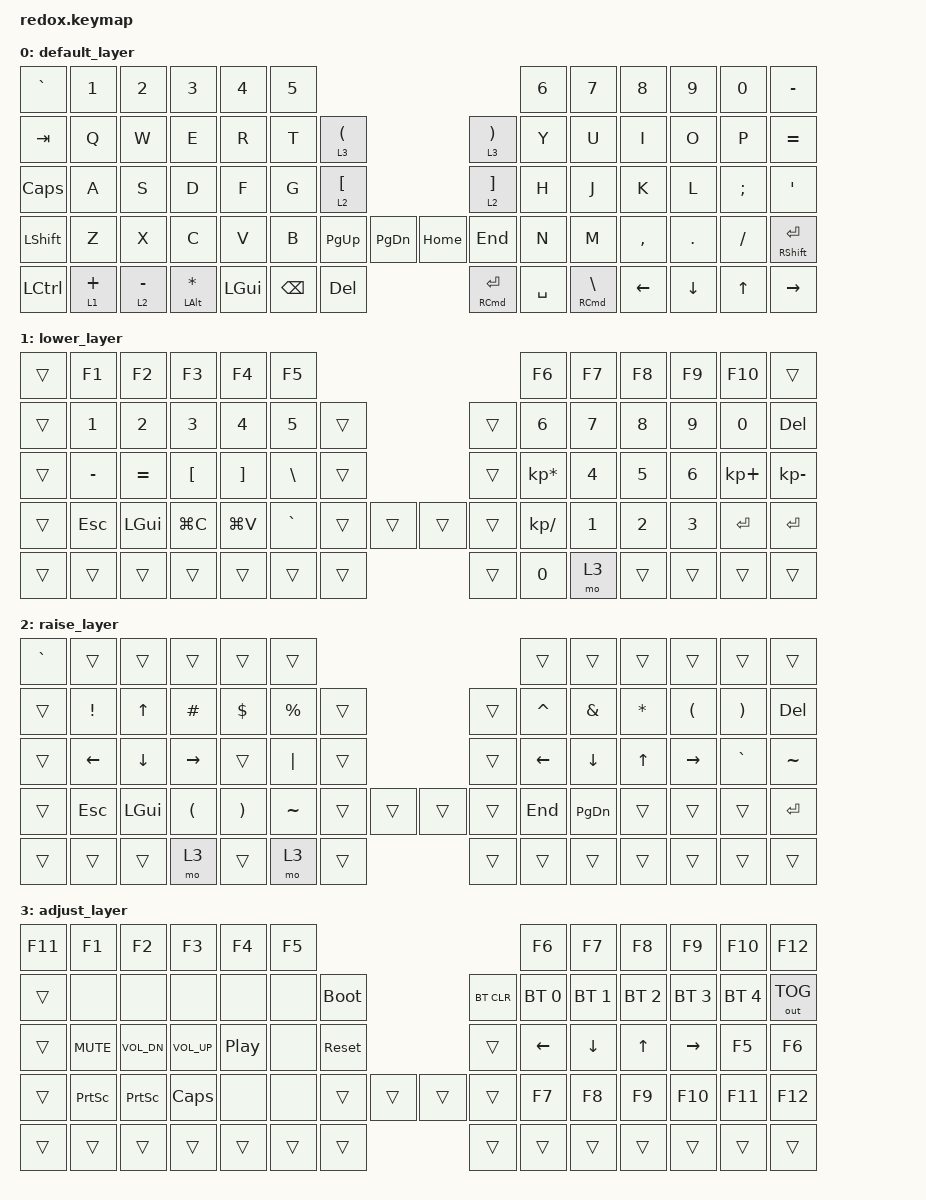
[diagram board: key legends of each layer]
/*
 * Copyright (c) 2021 The ZMK Contributors
 *
 * SPDX-License-Identifier: MIT
 */

#include <behaviors.dtsi>
#include <dt-bindings/zmk/bt.h>
#include <dt-bindings/zmk/keys.h>
#include <dt-bindings/zmk/outputs.h>

/ {
    keymap {
        compatible = "zmk,keymap";

        default_layer {
            // --------------------------------------------------------------------------------------------------------------------------------
            // | ESC   |  1  |  2  |   3   |  4  |  5  |                   ---                |  6    |  7    |  8    |  9   | 0  |    BKSP   |
            // | TAB   |  Q  |  W  |   E   |  R  |  T  |   (   |           ---        |  )    |  Y    |  U    |  I    |  O   | P  |     -     |
            // | CTRL  |  A  |  S  |   D   |  F  |  G  |   [   |           ---        |  ]    |  H    |  J    |  K    |  L   | ;  |     '     |
            // | SHIFT |  Z  |  X  |   C   |  V  |  B  | PG_UP | PG_DOWN | --- | HOME | END   |  N    |  M    |  ,    |  .   | /  | SHFT(RET) |
            // | CRTL  | ALT | GUI | LOWER |    GUI    | LOWER | SPACE   | --- | DEL  | SPACE |     RAISE     | LEFT  | DOWN | UP |   RIGHT   |

            bindings = <
&kp GRAVE     &kp N1      &kp N2       &kp N3                 &kp N4  &kp N5                                                                                &kp N6                      &kp N7  &kp N8     &kp N9    &kp N0    &kp MINUS
&kp TAB       &kp Q       &kp W        &kp E                  &kp R   &kp T     &lt 3 LEFT_PARENTHESIS                             &lt 3 RIGHT_PARENTHESIS  &kp Y                       &kp U   &kp I      &kp O     &kp P     &kp EQUAL
&kp CAPSLOCK  &kp A       &kp S        &kp D                  &kp F   &kp G     &lt 2 LEFT_BRACKET                                 &lt 2 RIGHT_BRACKET      &kp H                       &kp J   &kp K      &kp L     &kp SEMI  &kp SQT
&kp LSHFT     &kp Z       &kp X        &kp C                  &kp V   &kp B     &kp PG_UP               &kp PG_DN  &kp HOME        &kp END                  &kp N                       &kp M   &kp COMMA  &kp DOT   &kp FSLH  &mt RSHFT RET
&kp LCTRL     &lt 1 PLUS  &lt 2 MINUS  &mt LEFT_ALT ASTERISK          &kp LGUI  &kp BACKSPACE           &kp DEL    &mt RCMD ENTER  &kp SPACE                        &mt RCMD BACKSLASH          &kp LEFT   &kp DOWN  &kp UP    &kp RIGHT
            >;
        };

        lower_layer {
            // --------------------------------------------------------------------------------------------------------------------------
            // | ESC   |  1  |  2  |   3   |   4   |  5  |                   ---              |  6  |  7  |   8  |  9   |  0  |  DEL  |
            // | ESC   |  1  |  2  |   3   |   4   |  5  |   (   |           ---        |  )  |  6  |  7  |   8  |  9   |  0  |  DEL  |
            // | CTRL  |  -  |  =  |   [   |   ]   |  \  |   [   |           ---        |  ]  |  *  |  4  |   5  |  6   |  +  |   -   |
            // | SHIFT | ESC | GUI | COPY  | PASTE |     | PG_UP | PG_DOWN | --- | HOME | END |  \  |  1  |   2  |  3   | RET |  RET  |
            // | CRTL  | ALT | GUI | LOWER |     GUI     | LOWER | SPACE   | --- | DEL  |  0  |    RAISE  | LEFT | DOWN | UP  | RIGHT |

            bindings = <
&trans  &kp F1     &kp F2     &kp F3     &kp F4     &kp F5                                     &kp F6                  &kp F7  &kp F8  &kp F9  &kp F10      &trans
&trans  &kp N1     &kp N2     &kp N3     &kp N4     &kp N5     &trans                  &trans  &kp N6                  &kp N7  &kp N8  &kp N9  &kp N0       &kp DEL
&trans  &kp MINUS  &kp EQUAL  &kp LBKT   &kp RBKT   &kp BSLH   &trans                  &trans  &kp KP_MULTIPLY         &kp N4  &kp N5  &kp N6  &kp KP_PLUS  &kp KP_MINUS
&trans  &kp ESC    &kp LGUI   &kp LG(C)  &kp LG(V)  &kp GRAVE  &trans  &trans  &trans  &trans  &kp KP_DIVIDE           &kp N1  &kp N2  &kp N3  &kp RET      &kp RET
&trans  &trans     &trans     &trans                &trans     &trans  &trans  &trans  &kp N0                   &mo 3          &trans  &trans  &trans       &trans
            >;
        };

        raise_layer {
            // ----------------------------------------------------------------------------------------------------------------------------
            // | ESC   |  1  |  2  |   3   |  4  |  5  |                   ---                |  6   |  7   |  8   |  9   |  0    |  DEL  |
            // | ESC   |  !  |  @  |   #   |  $  |  %  |   (   |           ---        |  )    |  ^   |  &   |  *   |  (   |  )    |  DEL  |
            // | CTRL  |  _  |  +  |   {   |  }  | "|" |   [   |           ---        |  ]    | HOME | PGUP | PRSC | UP   |  `    |   ~   |
            // | SHIFT | ESC | GUI |   (   |  )  |     | PG_UP | PG_DOWN | --- | HOME | END   | END  | PGDN | LEFT | DOWN | RIGHT |  RET  |
            // | CRTL  | ALT | GUI | LOWER |    GUI    | LOWER | SPACE   | --- | DEL  | SPACE |    RAISE    | LEFT | DOWN | UP    | RIGHT |

            bindings = <
&kp GRAVE  &trans    &trans    &trans     &trans    &trans                                     &trans             &trans     &trans     &trans     &trans     &trans
&trans     &kp EXCL  &kp UP    &kp HASH   &kp DLLR  &kp PRCNT  &trans                  &trans  &kp CARET          &kp AMPS   &kp ASTRK  &kp LPAR   &kp RPAR   &kp DEL
&trans     &kp LEFT  &kp DOWN  &kp RIGHT  &trans    &kp PIPE   &trans                  &trans  &kp LEFT           &kp DOWN   &kp UP     &kp RIGHT  &kp GRAVE  &kp TILDE
&trans     &kp ESC   &kp LGUI  &kp LPAR   &kp RPAR  &kp TILDE  &trans  &trans  &trans  &trans  &kp END            &kp PG_DN  &trans     &trans     &trans     &kp RET
&trans     &trans    &trans    &mo 3                &trans     &mo 3   &trans  &trans  &trans             &trans             &trans     &trans     &trans     &trans
            >;
        };

        adjust_layer {
            // -----------------------------------------------------------------------------------------
            // |  F1   |  F2   |    F3    |    F4     |     F5     | F6 |                   ---                | F7  | F8  |  F9  |  F10 | F11 | F12        |
            // | TAB   |       |          |           |            |    | BOOTL |           ---        |  )    | BT1 | BT2 |  BT3 |  BT4 | BT5 | OUTPUT TGL |
            // | CTRL  | MUTE  |  Vol Dn  |  Vol Up   | Play/Pause |    | RESET |           ---        |  ]    | F1  | F2  |  F3  |  F4  | F5  | F6         |
            // | SHIFT | PSCRN |  PSCRN   |   CAPS    |            |    | PG_UP | PG_DOWN | --- | HOME | END   | F7  | F8  |  F9  |  F10 | F11 | F12        |
            // | CRTL  | ALT   |  GUI     |   LOWER   |      GUI        | LOWER | SPACE   | --- | DEL  | SPACE |   RAISE   | LEFT | DOWN | UP  |   RIGHT    |

            bindings = <
&kp F11  &kp F1      &kp F2        &kp F3        &kp F4            &kp F5                                           &kp F6                &kp F7        &kp F8        &kp F9        &kp F10       &kp F12
&trans   &none       &none         &none         &none             &none   &bootloader                  &bt BT_CLR  &bt BT_SEL 0          &bt BT_SEL 1  &bt BT_SEL 2  &bt BT_SEL 3  &bt BT_SEL 4  &out OUT_TOG
&trans   &kp K_MUTE  &kp C_VOL_DN  &kp C_VOL_UP  &kp C_PLAY_PAUSE  &none   &sys_reset                   &trans      &kp LEFT              &kp DOWN      &kp UP        &kp RIGHT     &kp F5        &kp F6
&trans   &kp PSCRN   &kp PSCRN     &kp CLCK      &none             &none   &trans       &trans  &trans  &trans      &kp F7                &kp F8        &kp F9        &kp F10       &kp F11       &kp F12
&trans   &trans      &trans        &trans                          &trans  &trans       &trans  &trans  &trans                    &trans                &trans        &trans        &trans        &trans
            >;
        };
    };
};
